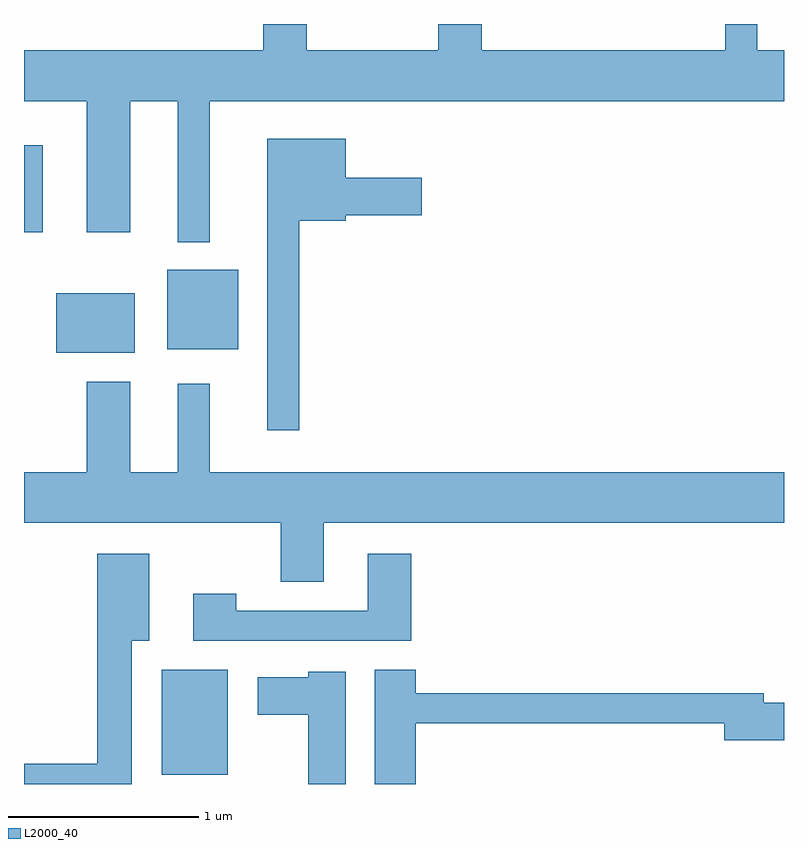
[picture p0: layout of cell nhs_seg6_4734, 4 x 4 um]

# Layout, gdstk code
import gdstk
lib = gdstk.Library(unit=1e-6, precision=1e-09)
def R(c, l, rs):  # rectangles x0, y0, x1, y1
    for r in rs: c.add(gdstk.rectangle(r[:2], r[2:], *l))
def P(c, l, *ps):  # polygons
    for p in ps: c.add(gdstk.Polygon(p, *l))
L2000_40 = (2000, 40)

nhs_seg6_4734 = lib.new_cell('nhs_seg6_4734')
R(nhs_seg6_4734, L2000_40, [(330.336,1604.211,330.684,1604.764), (329.781,1606.431,330.194,1606.744), (330.366,1606.451,330.739,1606.869), (329.611,1607.066,329.709,1607.524)])
P(nhs_seg6_4734, L2000_40, [(330.589,1607.756),(333.611,1607.756),(333.611,1608.024),(333.469,1608.024),(333.469,1608.162),(333.301,1608.162),(333.301,1608.024),(332.019,1608.024),(332.019,1608.162),(331.791,1608.162),(331.791,1608.024),(331.099,1608.024),(331.099,1608.162),(330.871,1608.162),(330.871,1608.024),(329.611,1608.024),(329.611,1607.756),(329.941,1607.756),(329.941,1607.066),(330.169,1607.066),(330.169,1607.756),(330.421,1607.756),(330.421,1607.013),(330.589,1607.013)],
  [(331.059,1607.126),(331.304,1607.126),(331.304,1607.156),(331.704,1607.156),(331.704,1607.354),(331.304,1607.354),(331.304,1607.559),(330.891,1607.559),(330.891,1606.023),(331.059,1606.023)],
  [(331.189,1605.536),(333.611,1605.536),(333.611,1605.804),(330.589,1605.804),(330.589,1606.268),(330.421,1606.268),(330.421,1605.804),(330.169,1605.804),(330.169,1606.279),(329.941,1606.279),(329.941,1605.804),(329.611,1605.804),(329.611,1605.536),(330.961,1605.536),(330.961,1605.226),(331.189,1605.226)],
  [(330.179,1604.916),(330.269,1604.916),(330.269,1605.374),(329.996,1605.374),(329.996,1604.269),(329.611,1604.269),(329.611,1604.162),(330.179,1604.162)],
  [(331.649,1605.374),(331.421,1605.374),(331.421,1605.074),(330.729,1605.074),(330.729,1605.164),(330.501,1605.164),(330.501,1604.916),(331.649,1604.916)],
  [(331.674,1604.481),(333.296,1604.481),(333.296,1604.391),(333.611,1604.391),(333.611,1604.589),(333.504,1604.589),(333.504,1604.639),(331.674,1604.639),(331.674,1604.764),(331.456,1604.764),(331.456,1604.162),(331.674,1604.162)],
  [(331.304,1604.754),(331.106,1604.754),(331.106,1604.724),(330.841,1604.724),(330.841,1604.526),(331.106,1604.526),(331.106,1604.162),(331.304,1604.162)])

lib.write_gds('nhs_seg6_4734.gds')
